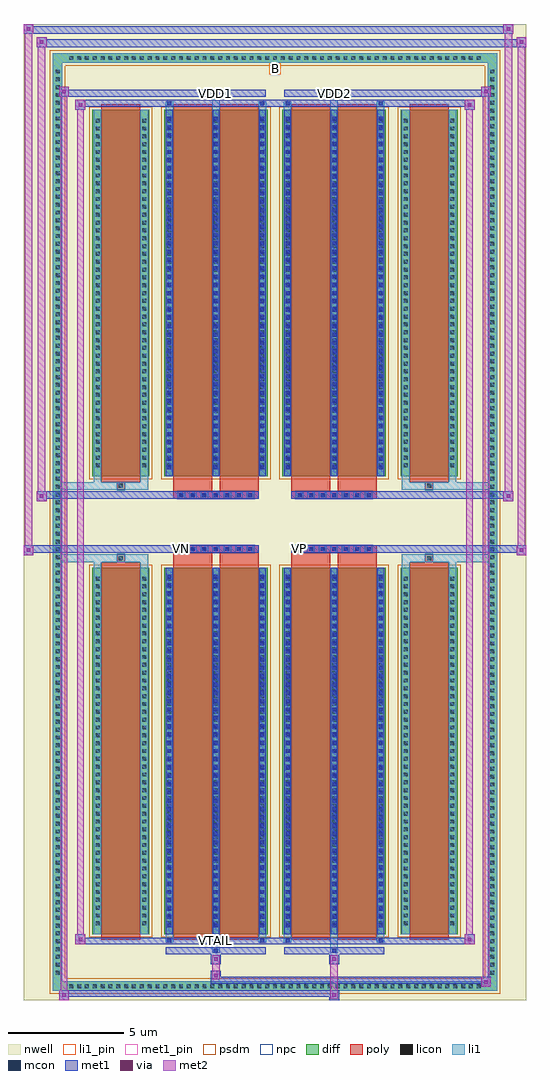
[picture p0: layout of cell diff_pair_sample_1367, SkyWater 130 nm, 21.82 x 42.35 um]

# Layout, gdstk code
import gdstk
lib = gdstk.Library(unit=1e-6, precision=5e-09)
def R(c, l, rs):  # rectangles x0, y0, x1, y1
    for r in rs: c.add(gdstk.rectangle(r[:2], r[2:], *l))
def A(c, l, x, y, w, h, nx, ny, dx, dy):  # array of equal rectangles
    R(c, l, [(x+i*dx, y+j*dy, x+i*dx+w, y+j*dy+h) for i in range(nx) for j in range(ny)])
def P(c, l, *ps):  # polygons
    for p in ps: c.add(gdstk.Polygon(p, *l))
nwell = (64, 20)
diff = (65, 20)
poly = (66, 20)
licon = (66, 44)
li1_pin = (67, 16)
li1 = (67, 20)
mcon = (67, 44)
met1_pin = (68, 16)
met1 = (68, 20)
via = (68, 44)
met2 = (69, 20)
psdm = (94, 20)
npc = (95, 20)

diff_pair_sample_1367 = lib.new_cell('diff_pair_sample_1367')
R(diff_pair_sample_1367, nwell, [(-10.91,-20.74,10.91,21.61), (-8.23,-18.93,-0.01,-0.805), (0.01,-18.93,8.23,-0.805), (-8.23,0.805,-0.01,18.93), (0.01,0.805,8.23,18.93)])
A(diff_pair_sample_1367, diff, -9.045, -20.34, 0.41, 0.41, 53, 2, 0.34, 40.27)
A(diff_pair_sample_1367, diff, -9.64, -19.755, 0.41, 0.41, 1, 116, 0, 0.34)
A(diff_pair_sample_1367, diff, 9.23, -19.755, 0.41, 0.41, 1, 116, 0, 0.34)
R(diff_pair_sample_1367, diff, [(-9.045,-20.34,9.045,-19.93), (-9.64,-19.755,-9.23,19.755), (9.23,-19.755,9.64,19.755), (-7.92,-17.885,-5.45,-1.985), (-4.81,-17.885,-0.32,-1.985), (0.32,-17.885,4.81,-1.985), (5.45,-17.885,7.92,-1.985), (-7.92,1.985,-5.45,17.885), (-4.81,1.985,-0.32,17.885), (0.32,1.985,4.81,17.885), (5.45,1.985,7.92,17.885), (-9.045,19.93,9.045,20.34)])
P(diff_pair_sample_1367, diff, [(9.64,20.34),(-9.64,20.34),(-9.64,-19.93),(-9.23,-19.93),(-9.23,19.93),(9.23,19.93),(9.23,-19.93),(-9.23,-19.93),(-9.64,-19.93),(-9.64,-20.34),(9.64,-20.34)])
A(diff_pair_sample_1367, poly, -4.23, -1.335, 0.33, 0.33, 7, 2, 0.5, 2.34)
A(diff_pair_sample_1367, poly, 0.9, -1.335, 0.33, 0.33, 7, 2, 0.5, 2.34)
R(diff_pair_sample_1367, poly, [(-7.53,-18.135,-5.84,-1.735), (-4.42,-18.135,-2.73,-1.735), (-2.4,-18.135,-0.71,-1.735), (0.71,-18.135,2.4,-1.735), (2.73,-18.135,4.42,-1.735), (5.84,-18.135,7.53,-1.735), (-6.85,-1.735,-6.52,-1.405), (-6.85,-1.735,-6.52,-1.405), (-4.42,-1.735,-2.73,-1.335), (-2.4,-1.735,-0.71,-1.335), (0.71,-1.735,2.4,-1.335), (2.73,-1.735,4.42,-1.335), (6.52,-1.735,6.85,-1.405), (6.52,-1.735,6.85,-1.405), (-4.42,-1.335,-0.71,-1.005), (0.71,-1.335,4.42,-1.005), (-4.42,1.005,-0.71,1.335), (0.71,1.005,4.42,1.335), (-4.42,1.335,-2.73,1.735), (-2.4,1.335,-0.71,1.735), (0.71,1.335,2.4,1.735), (2.73,1.335,4.42,1.735), (-6.85,1.405,-6.52,1.735), (-6.85,1.405,-6.52,1.735), (6.52,1.405,6.85,1.735), (6.52,1.405,6.85,1.735), (-7.53,1.735,-5.84,18.135), (-4.42,1.735,-2.73,18.135), (-2.4,1.735,-0.71,18.135), (0.71,1.735,2.4,18.135), (2.73,1.735,4.42,18.135), (5.84,1.735,7.53,18.135)])
A(diff_pair_sample_1367, licon, -8.925, -20.22, 0.17, 0.17, 53, 2, 0.34, 40.27)
A(diff_pair_sample_1367, licon, -9.52, -19.635, 0.17, 0.17, 1, 116, 0, 0.34)
A(diff_pair_sample_1367, licon, 9.35, -19.635, 0.17, 0.17, 1, 116, 0, 0.34)
A(diff_pair_sample_1367, licon, -7.78, -17.5, 0.17, 0.17, 1, 45, 0, 0.34)
A(diff_pair_sample_1367, licon, -5.76, -17.5, 0.17, 0.17, 1, 45, 0, 0.34)
A(diff_pair_sample_1367, licon, -4.67, -17.5, 0.17, 0.17, 3, 45, 2.02, 0.34)
A(diff_pair_sample_1367, licon, 0.46, -17.5, 0.17, 0.17, 3, 45, 2.02, 0.34)
A(diff_pair_sample_1367, licon, 5.59, -17.5, 0.17, 0.17, 1, 45, 0, 0.34)
A(diff_pair_sample_1367, licon, 7.61, -17.5, 0.17, 0.17, 1, 45, 0, 0.34)
A(diff_pair_sample_1367, licon, -4.15, -1.255, 0.17, 0.17, 7, 2, 0.5, 2.34)
A(diff_pair_sample_1367, licon, 0.98, -1.255, 0.17, 0.17, 7, 2, 0.5, 2.34)
A(diff_pair_sample_1367, licon, -7.78, 2.37, 0.17, 0.17, 1, 45, 0, 0.34)
A(diff_pair_sample_1367, licon, -5.76, 2.37, 0.17, 0.17, 1, 45, 0, 0.34)
A(diff_pair_sample_1367, licon, -4.67, 2.37, 0.17, 0.17, 3, 45, 2.02, 0.34)
A(diff_pair_sample_1367, licon, 0.46, 2.37, 0.17, 0.17, 3, 45, 2.02, 0.34)
A(diff_pair_sample_1367, licon, 5.59, 2.37, 0.17, 0.17, 1, 45, 0, 0.34)
A(diff_pair_sample_1367, licon, 7.61, 2.37, 0.17, 0.17, 1, 45, 0, 0.34)
R(diff_pair_sample_1367, licon, [(-6.77,-1.655,-6.6,-1.485), (6.6,-1.655,6.77,-1.485), (-6.77,1.485,-6.6,1.655), (6.6,1.485,6.77,1.655)])
R(diff_pair_sample_1367, li1_pin, [(-0.25,19.43,0.25,19.93)])
A(diff_pair_sample_1367, li1, -9.005, -20.3, 0.33, 0.33, 53, 2, 0.34, 40.27)
A(diff_pair_sample_1367, li1, -9.6, -19.715, 0.33, 0.33, 1, 116, 0, 0.34)
A(diff_pair_sample_1367, li1, 9.27, -19.715, 0.33, 0.33, 1, 116, 0, 0.34)
A(diff_pair_sample_1367, li1, -4.75, -17.885, 0.33, 15.9, 3, 2, 2.02, 19.87)
A(diff_pair_sample_1367, li1, 0.38, -17.885, 0.33, 15.9, 3, 2, 2.02, 19.87)
A(diff_pair_sample_1367, li1, -7.86, -17.58, 0.33, 0.33, 1, 45, 0, 0.34)
A(diff_pair_sample_1367, li1, -5.84, -17.58, 0.33, 0.33, 1, 45, 0, 0.34)
A(diff_pair_sample_1367, li1, -4.75, -17.58, 0.33, 0.33, 3, 45, 2.02, 0.34)
A(diff_pair_sample_1367, li1, -4.67, -17.58, 0.17, 0.17, 3, 43, 2.02, 0.36)
A(diff_pair_sample_1367, li1, -4.67, -17.58, 0.17, 15.29, 3, 2, 2.02, 19.87)
A(diff_pair_sample_1367, li1, 0.38, -17.58, 0.33, 0.33, 3, 45, 2.02, 0.34)
A(diff_pair_sample_1367, li1, 0.46, -17.58, 0.17, 0.17, 3, 43, 2.02, 0.36)
A(diff_pair_sample_1367, li1, 0.46, -17.58, 0.17, 15.29, 3, 2, 2.02, 19.87)
A(diff_pair_sample_1367, li1, 5.51, -17.58, 0.33, 0.33, 1, 45, 0, 0.34)
A(diff_pair_sample_1367, li1, 7.53, -17.58, 0.33, 0.33, 1, 45, 0, 0.34)
A(diff_pair_sample_1367, li1, -4.23, -1.335, 0.33, 0.33, 7, 2, 0.5, 2.34)
A(diff_pair_sample_1367, li1, 0.9, -1.335, 0.33, 0.33, 7, 2, 0.5, 2.34)
A(diff_pair_sample_1367, li1, -7.86, 2.29, 0.33, 0.33, 1, 45, 0, 0.34)
A(diff_pair_sample_1367, li1, -5.84, 2.29, 0.33, 0.33, 1, 45, 0, 0.34)
A(diff_pair_sample_1367, li1, -4.75, 2.29, 0.33, 0.33, 3, 45, 2.02, 0.34)
A(diff_pair_sample_1367, li1, -4.67, 2.29, 0.17, 0.17, 3, 43, 2.02, 0.36)
A(diff_pair_sample_1367, li1, 0.38, 2.29, 0.33, 0.33, 3, 45, 2.02, 0.34)
A(diff_pair_sample_1367, li1, 0.46, 2.29, 0.17, 0.17, 3, 43, 2.02, 0.36)
A(diff_pair_sample_1367, li1, 5.51, 2.29, 0.33, 0.33, 1, 45, 0, 0.34)
A(diff_pair_sample_1367, li1, 7.53, 2.29, 0.33, 0.33, 1, 45, 0, 0.34)
R(diff_pair_sample_1367, li1, [(-9.64,-20.34,-9.23,-19.93), (-9.64,-20.34,-9.23,-19.93), (-9.23,-20.34,9.23,-19.93), (9.23,-20.34,9.64,-19.93), (9.23,-20.34,9.64,-19.93), (-9.64,-19.93,-9.23,19.93), (9.23,-19.93,9.64,19.93), (-2.73,-18.69,-2.4,-17.885), (-2.65,-18.69,-2.48,-18.52), (2.4,-18.69,2.73,-17.885), (2.48,-18.69,2.65,-18.52), (-4.75,-18.26,-4.42,-17.885), (-4.67,-18.26,-4.5,-18.09), (-0.71,-18.26,-0.38,-17.885), (-0.63,-18.26,-0.46,-18.09), (0.38,-18.26,0.71,-17.885), (0.46,-18.26,0.63,-18.09), (4.42,-18.26,4.75,-17.885), (4.5,-18.26,4.67,-18.09), (-7.86,-17.885,-7.53,-1.985), (-5.84,-17.885,-5.51,-1.985), (5.51,-17.885,5.84,-1.985), (7.53,-17.885,7.86,-1.985), (-7.86,-1.985,-7.53,-1.405), (-5.84,-1.985,-5.51,-1.405), (5.51,-1.985,5.84,-1.405), (7.53,-1.985,7.86,-1.405), (-9.64,-1.735,-6.85,-1.405), (-7.86,-1.735,-6.85,-1.405), (-6.85,-1.735,-6.52,-1.405), (-6.52,-1.735,-5.51,-1.405), (5.51,-1.735,6.52,-1.405), (6.52,-1.735,6.85,-1.405), (6.52,-1.735,9.64,-1.405), (6.85,-1.735,7.86,-1.405), (-9.64,1.405,-6.85,1.735), (-7.86,1.405,-6.85,1.735), (-7.86,1.405,-7.53,1.985), (-6.85,1.405,-6.52,1.735), (-6.52,1.405,-5.51,1.735), (-5.84,1.405,-5.51,1.985), (5.51,1.405,6.52,1.735), (5.51,1.405,5.84,1.985), (6.52,1.405,6.85,1.735), (6.52,1.405,9.64,1.735), (6.85,1.405,7.86,1.735), (7.53,1.405,7.86,1.985), (-7.86,1.985,-7.53,17.885), (-5.84,1.985,-5.51,17.885), (5.51,1.985,5.84,17.885), (7.53,1.985,7.86,17.885), (-4.75,17.885,-4.42,18.26), (-2.73,17.885,-2.4,18.69), (-0.71,17.885,-0.38,18.26), (0.38,17.885,0.71,18.26), (2.4,17.885,2.73,18.69), (4.42,17.885,4.75,18.26), (-4.67,18.09,-4.5,18.26), (-0.63,18.09,-0.46,18.26), (0.46,18.09,0.63,18.26), (4.5,18.09,4.67,18.26), (-2.65,18.52,-2.48,18.69), (2.48,18.52,2.65,18.69), (-9.64,19.93,-9.23,20.34), (-9.64,19.93,-9.23,20.34), (-9.23,19.93,9.23,20.34), (9.23,19.93,9.64,20.34), (9.23,19.93,9.64,20.34)])
A(diff_pair_sample_1367, mcon, -4.67, -17.58, 0.17, 0.17, 3, 43, 2.02, 0.36)
A(diff_pair_sample_1367, mcon, 0.46, -17.58, 0.17, 0.17, 3, 43, 2.02, 0.36)
A(diff_pair_sample_1367, mcon, -4.15, -1.255, 0.17, 0.17, 7, 2, 0.5, 2.34)
A(diff_pair_sample_1367, mcon, 0.98, -1.255, 0.17, 0.17, 7, 2, 0.5, 2.34)
A(diff_pair_sample_1367, mcon, -4.67, 2.29, 0.17, 0.17, 3, 43, 2.02, 0.36)
A(diff_pair_sample_1367, mcon, 0.46, 2.29, 0.17, 0.17, 3, 43, 2.02, 0.36)
R(diff_pair_sample_1367, mcon, [(-2.65,-18.69,-2.48,-18.52), (2.48,-18.69,2.65,-18.52), (-4.67,-18.26,-4.5,-18.09), (-0.63,-18.26,-0.46,-18.09), (0.46,-18.26,0.63,-18.09), (4.5,-18.26,4.67,-18.09), (-4.67,18.09,-4.5,18.26), (-0.63,18.09,-0.46,18.26), (0.46,18.09,0.63,18.26), (4.5,18.09,4.67,18.26), (-2.65,18.52,-2.48,18.69), (2.48,18.52,2.65,18.69)])
R(diff_pair_sample_1367, met1_pin, [(-2.7,-18.3,-2.43,-18.03), (-4.2,-1.295,-3.93,-1.025), (0.93,-1.295,1.2,-1.025), (-2.7,18.48,-2.43,18.75), (2.43,18.48,2.7,18.75)])
A(diff_pair_sample_1367, met1, -4.73, -17.885, 0.29, 15.9, 3, 2, 2.02, 19.87)
A(diff_pair_sample_1367, met1, 0.4, -17.885, 0.29, 15.9, 3, 2, 2.02, 19.87)
A(diff_pair_sample_1367, met1, -4.73, -17.64, 0.29, 0.29, 3, 43, 2.02, 0.36)
A(diff_pair_sample_1367, met1, 0.4, -17.64, 0.29, 0.29, 3, 43, 2.02, 0.36)
A(diff_pair_sample_1367, met1, -4.21, -1.315, 0.29, 0.29, 7, 2, 0.5, 2.34)
A(diff_pair_sample_1367, met1, 0.92, -1.315, 0.29, 0.29, 7, 2, 0.5, 2.34)
A(diff_pair_sample_1367, met1, -4.73, 2.23, 0.29, 0.29, 3, 43, 2.02, 0.36)
A(diff_pair_sample_1367, met1, 0.4, 2.23, 0.29, 0.29, 3, 43, 2.02, 0.36)
R(diff_pair_sample_1367, met1, [(-9.37,-20.74,-8.94,-20.31), (2.35,-20.74,2.78,-20.31), (-9.37,-20.6,2.78,-20.31), (8.94,-20.17,9.37,-19.74), (-2.78,-20.03,9.37,-19.74), (-2.78,-19.89,-2.35,-19.46), (-2.78,-19.18,-2.35,-18.75), (2.35,-19.18,2.78,-18.75), (-4.73,-18.75,-0.4,-18.46), (-2.71,-18.75,-2.42,-18.46), (0.4,-18.75,4.73,-18.46), (2.42,-18.75,2.71,-18.46), (-8.66,-18.32,-8.23,-17.89), (-8.66,-18.32,-4.73,-18.03), (-4.73,-18.32,-4.44,-18.03), (-4.73,-18.32,-0.4,-18.03), (-0.69,-18.32,-0.4,-18.03), (-0.4,-18.32,0.4,-18.03), (0.4,-18.32,0.69,-18.03), (0.4,-18.32,4.73,-18.03), (4.44,-18.32,4.73,-18.03), (4.73,-18.32,8.66,-18.03), (8.23,-18.32,8.66,-17.89), (-10.91,-1.435,-10.48,-1.005), (10.48,-1.435,10.91,-1.005), (-10.91,-1.335,-0.71,-1.005), (-4.42,-1.335,-0.71,-1.005), (0.71,-1.335,4.42,-1.005), (0.71,-1.335,10.91,-1.005), (-10.34,0.905,-9.91,1.335), (9.91,0.905,10.34,1.335), (-10.34,1.005,-4.42,1.335), (-4.42,1.005,-0.71,1.335), (0.71,1.005,4.42,1.335), (4.42,1.005,10.34,1.335), (-8.66,17.89,-8.23,18.32), (8.23,17.89,8.66,18.32), (-8.66,18.03,-4.73,18.32), (-4.73,18.03,-4.44,18.32), (-4.73,18.03,-0.4,18.32), (-0.69,18.03,-0.4,18.32), (-0.4,18.03,0.4,18.32), (0.4,18.03,0.69,18.32), (0.4,18.03,4.73,18.32), (4.44,18.03,4.73,18.32), (4.73,18.03,8.66,18.32), (-9.37,18.46,-8.94,18.89), (-9.37,18.46,-4.73,18.75), (-4.73,18.46,-0.4,18.75), (-2.71,18.46,-2.42,18.75), (0.4,18.46,4.73,18.75), (2.42,18.46,2.71,18.75), (4.73,18.46,9.37,18.75), (8.94,18.46,9.37,18.89), (-10.34,20.61,-9.91,21.04), (-10.34,20.61,-8.23,20.94), (-8.23,20.61,8.23,20.94), (8.23,20.61,10.91,20.94), (10.48,20.61,10.91,21.04), (-10.91,21.18,-10.48,21.61), (-10.91,21.18,-8.23,21.51), (-8.23,21.18,8.23,21.51), (8.23,21.18,10.34,21.51), (9.91,21.18,10.34,21.61)])
R(diff_pair_sample_1367, via, [(-9.23,-20.6,-9.08,-20.45), (2.49,-20.6,2.64,-20.45), (9.08,-20.03,9.23,-19.88), (-2.64,-19.75,-2.49,-19.6), (-2.64,-19.04,-2.49,-18.89), (2.49,-19.04,2.64,-18.89), (-8.52,-18.18,-8.37,-18.03), (8.37,-18.18,8.52,-18.03), (-10.77,-1.295,-10.62,-1.145), (10.62,-1.295,10.77,-1.145), (-10.2,1.045,-10.05,1.195), (10.05,1.045,10.2,1.195), (-8.52,18.03,-8.37,18.18), (8.37,18.03,8.52,18.18), (-9.23,18.6,-9.08,18.75), (9.08,18.6,9.23,18.75), (-10.2,20.75,-10.05,20.9), (10.62,20.75,10.77,20.9), (-10.77,21.32,-10.62,21.47), (10.05,21.32,10.2,21.47)])
R(diff_pair_sample_1367, met2, [(-9.37,-20.74,-8.94,-20.31), (-9.3,-20.74,-9.01,18.89), (-9.01,-20.74,-8.94,-20.31), (-9.32,-20.69,-8.99,-20.36), (2.4,-20.69,2.73,-20.36), (2.4,-20.36,2.73,-19.13), (8.94,-20.17,9.37,-19.74), (9.01,-20.17,9.3,18.89), (9.3,-20.17,9.37,-19.74), (8.99,-20.12,9.32,-19.79), (-2.73,-19.84,-2.4,-19.51), (-2.73,-19.51,-2.4,-19.13), (-2.73,-19.13,-2.4,-18.8), (2.4,-19.13,2.73,-18.8), (-8.66,-18.32,-8.23,-17.89), (-8.59,-18.32,-8.3,18.32), (-8.3,-18.32,-8.23,-17.89), (8.23,-18.32,8.66,-17.89), (8.3,-18.32,8.59,18.32), (8.59,-18.32,8.66,-17.89), (-8.61,-18.27,-8.28,-17.94), (8.28,-18.27,8.61,-17.94), (-10.91,-1.435,-10.48,-1.005), (-10.86,-1.435,-10.53,21.61), (-10.53,-1.435,-10.48,-1.005), (10.48,-1.435,10.91,-1.005), (10.53,-1.435,10.86,21.04), (10.86,-1.435,10.91,-1.005), (-10.86,-1.385,-10.53,-1.055), (10.53,-1.385,10.86,-1.055), (-10.34,0.905,-9.91,1.335), (-10.29,0.905,-9.96,21.04), (-9.96,0.905,-9.91,1.335), (9.91,0.905,10.34,1.335), (9.96,0.905,10.29,21.61), (10.29,0.905,10.34,1.335), (-10.29,0.955,-9.96,1.285), (9.96,0.955,10.29,1.285), (-8.66,17.89,-8.23,18.32), (-8.3,17.89,-8.23,18.32), (8.23,17.89,8.66,18.32), (8.59,17.89,8.66,18.32), (-8.61,17.94,-8.28,18.27), (8.28,17.94,8.61,18.27), (-9.37,18.46,-8.94,18.89), (-9.01,18.46,-8.94,18.89), (8.94,18.46,9.37,18.89), (9.3,18.46,9.37,18.89), (-9.32,18.51,-8.99,18.84), (8.99,18.51,9.32,18.84), (-10.34,20.61,-9.91,21.04), (-9.96,20.61,-9.91,21.04), (10.48,20.61,10.91,21.04), (10.86,20.61,10.91,21.04), (-10.29,20.66,-9.96,20.99), (10.53,20.66,10.86,20.99), (-10.91,21.18,-10.48,21.61), (-10.53,21.18,-10.48,21.61), (9.91,21.18,10.34,21.61), (10.29,21.18,10.34,21.61), (-10.86,21.23,-10.53,21.56), (9.96,21.23,10.29,21.56)])
R(diff_pair_sample_1367, psdm, [(-8.05,-18.015,-5.32,-1.855), (-4.94,-18.015,-0.19,-1.855), (0.19,-18.015,4.94,-1.855), (5.32,-18.015,8.05,-1.855), (-8.05,1.855,-5.32,18.015), (-4.94,1.855,-0.19,18.015), (0.19,1.855,4.94,18.015), (5.32,1.855,8.05,18.015)])
P(diff_pair_sample_1367, psdm, [(9.77,20.47),(-9.77,20.47),(-9.77,-19.8),(-9.1,-19.8),(-9.1,19.8),(9.1,19.8),(9.1,-19.8),(-9.1,-19.8),(-9.77,-19.8),(-9.77,-20.47),(9.77,-20.47)])
A(diff_pair_sample_1367, npc, -4.25, -1.355, 0.37, 0.37, 7, 2, 0.5, 2.34)
A(diff_pair_sample_1367, npc, 0.88, -1.355, 0.37, 0.37, 7, 2, 0.5, 2.34)
R(diff_pair_sample_1367, npc, [(-6.87,-1.755,-6.5,-1.385), (6.5,-1.755,6.87,-1.385), (-4.25,-1.355,-3.38,-0.985), (-4.25,-1.355,-3.38,-0.985), (-3.75,-1.355,-2.88,-0.985), (-3.75,-1.355,-2.88,-0.985), (-3.25,-1.355,-2.38,-0.985), (-3.25,-1.355,-2.38,-0.985), (-2.75,-1.355,-1.88,-0.985), (-2.75,-1.355,-1.88,-0.985), (-2.25,-1.355,-1.38,-0.985), (-2.25,-1.355,-1.38,-0.985), (-1.75,-1.355,-0.88,-0.985), (-1.75,-1.355,-0.88,-0.985), (0.88,-1.355,1.75,-0.985), (0.88,-1.355,1.75,-0.985), (1.38,-1.355,2.25,-0.985), (1.38,-1.355,2.25,-0.985), (1.88,-1.355,2.75,-0.985), (1.88,-1.355,2.75,-0.985), (2.38,-1.355,3.25,-0.985), (2.38,-1.355,3.25,-0.985), (2.88,-1.355,3.75,-0.985), (2.88,-1.355,3.75,-0.985), (3.38,-1.355,4.25,-0.985), (3.38,-1.355,4.25,-0.985), (-4.25,0.985,-3.38,1.355), (-4.25,0.985,-3.38,1.355), (-3.75,0.985,-2.88,1.355), (-3.75,0.985,-2.88,1.355), (-3.25,0.985,-2.38,1.355), (-3.25,0.985,-2.38,1.355), (-2.75,0.985,-1.88,1.355), (-2.75,0.985,-1.88,1.355), (-2.25,0.985,-1.38,1.355), (-2.25,0.985,-1.38,1.355), (-1.75,0.985,-0.88,1.355), (-1.75,0.985,-0.88,1.355), (0.88,0.985,1.75,1.355), (0.88,0.985,1.75,1.355), (1.38,0.985,2.25,1.355), (1.38,0.985,2.25,1.355), (1.88,0.985,2.75,1.355), (1.88,0.985,2.75,1.355), (2.38,0.985,3.25,1.355), (2.38,0.985,3.25,1.355), (2.88,0.985,3.75,1.355), (2.88,0.985,3.75,1.355), (3.38,0.985,4.25,1.355), (3.38,0.985,4.25,1.355), (-6.87,1.385,-6.5,1.755), (6.5,1.385,6.87,1.755)])
diff_pair_sample_1367.add(gdstk.Label('VTAIL', (-2.565,-18.165), layer=68, texttype=5))
diff_pair_sample_1367.add(gdstk.Label('VN', (-4.065,-1.16), layer=68, texttype=5))
diff_pair_sample_1367.add(gdstk.Label('VP', (1.065,-1.16), layer=68, texttype=5))
diff_pair_sample_1367.add(gdstk.Label('B', (0,19.68), layer=67, texttype=5))
diff_pair_sample_1367.add(gdstk.Label('VDD2', (2.565,18.615), layer=68, texttype=5))
diff_pair_sample_1367.add(gdstk.Label('VDD1', (-2.565,18.615), layer=68, texttype=5))

lib.write_gds('diff_pair_sample_1367.gds')
